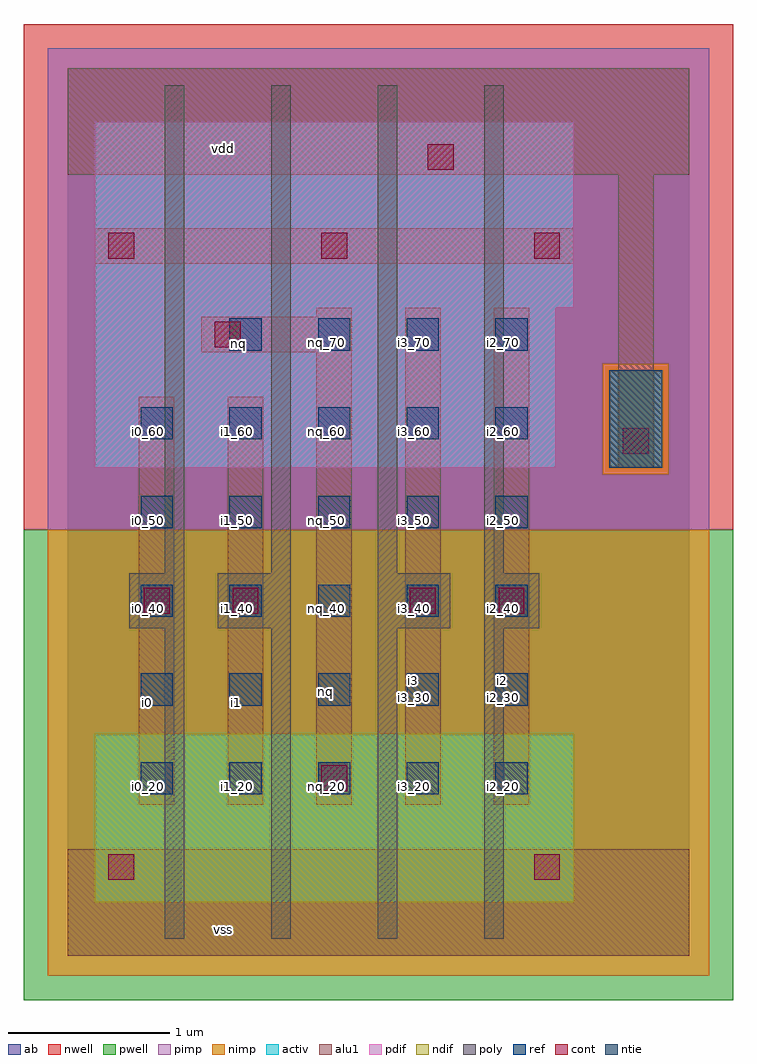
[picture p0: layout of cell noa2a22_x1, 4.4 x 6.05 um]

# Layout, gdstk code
import gdstk
lib = gdstk.Library(unit=1e-6, precision=2.5e-09)
def R(c, l, rs):  # rectangles x0, y0, x1, y1
    for r in rs: c.add(gdstk.rectangle(r[:2], r[2:], *l))
def A(c, l, x, y, w, h, nx, ny, dx, dy):  # array of equal rectangles
    R(c, l, [(x+i*dx, y+j*dy, x+i*dx+w, y+j*dy+h) for i in range(nx) for j in range(ny)])
ndif = (3, 0)
pdif = (4, 0)
ntie = (5, 0)
ref = (24, 0)
cont = (25, 0)
pwell = (41, 0)
nwell = (42, 0)
activ = (43, 0)
pimp = (44, 0)
nimp = (45, 0)
poly = (46, 0)
alu1 = (49, 0)
ab = (63, 0)

noa2a22_x1 = lib.new_cell('noa2a22_x1')
R(noa2a22_x1, ndif, [(0.165,0.33,3.135,1.375)])
R(noa2a22_x1, pdif, [(0.165,3.025,3.025,4.015), (0.165,4.015,3.135,5.17)])
R(noa2a22_x1, ntie, [(3.355,3.025,3.685,3.63)])
A(noa2a22_x1, ref, 0.45, 1, 0.2, 0.2, 5, 5, 0.55, 0.55)
A(noa2a22_x1, ref, 1, 3.75, 0.2, 0.2, 4, 1, 0.55, 0)
A(noa2a22_x1, cont, 0.25, 4.32, 0.16, 0.16, 3, 1, 1.32, 0)
R(noa2a22_x1, cont, [(0.25,0.47,0.41,0.63), (2.89,0.47,3.05,0.63), (1.57,1.02,1.73,1.18), (0.47,2.12,0.63,2.28), (1.02,2.12,1.18,2.28), (2.12,2.12,2.28,2.28), (2.67,2.12,2.83,2.28), (3.44,3.11,3.6,3.27), (0.91,3.77,1.07,3.93), (2.23,4.87,2.39,5.03)])
R(noa2a22_x1, pwell, [(-0.275,-0.275,4.125,2.64)])
R(noa2a22_x1, nwell, [(-0.275,2.64,4.125,5.775)])
R(noa2a22_x1, activ, [(0.165,0.33,3.135,1.375), (0.165,3.025,3.025,4.015), (3.355,3.025,3.685,3.63), (0.165,4.015,3.135,5.17)])
R(noa2a22_x1, pimp, [(-0.125,2.64,3.975,2.985), (-0.125,2.985,3.315,3.67), (3.725,2.985,3.975,3.67), (-0.125,3.67,3.975,5.625)])
R(noa2a22_x1, nimp, [(-0.125,-0.125,3.975,2.64), (3.315,2.985,3.725,3.67)])
A(noa2a22_x1, poly, 0.6, 0.105, 0.12, 1.925, 4, 1, 0.66, 0)
A(noa2a22_x1, poly, 0.6, 2.37, 0.12, 3.025, 4, 1, 0.66, 0)
R(noa2a22_x1, poly, [(0.38,2.03,0.72,2.37), (0.93,2.03,1.38,2.37), (1.92,2.03,2.37,2.37), (2.58,2.03,2.92,2.37)])
R(noa2a22_x1, alu1, [(0,0,3.85,0.66), (0.44,0.935,0.66,3.465), (0.99,0.935,1.21,3.465), (1.54,0.935,1.76,3.74), (2.09,0.935,2.31,4.015), (2.64,0.935,2.86,4.015), (3.41,3.025,3.63,4.84), (0.825,3.74,1.76,3.96), (1.54,3.96,1.76,4.015), (0.165,4.29,3.135,4.51), (0,4.84,3.85,5.5)])
R(noa2a22_x1, ab, [(0,0,3.85,5.5)])
noa2a22_x1.add(gdstk.Label('vss', (0.9625,0.165), layer=49, texttype=0))
noa2a22_x1.add(gdstk.Label('i2', (2.695,1.705), layer=49, texttype=0))
noa2a22_x1.add(gdstk.Label('i3', (2.145,1.705), layer=49, texttype=0))
noa2a22_x1.add(gdstk.Label('nq', (1.595,1.635), layer=49, texttype=0))
noa2a22_x1.add(gdstk.Label('i1', (1.045,1.5675), layer=49, texttype=0))
noa2a22_x1.add(gdstk.Label('i0', (0.495,1.5675), layer=49, texttype=0))
noa2a22_x1.add(gdstk.Label('nq', (1.0575,3.795), layer=49, texttype=0))
noa2a22_x1.add(gdstk.Label('vdd', (0.9625,5.005), layer=49, texttype=0))
noa2a22_x1.add(gdstk.Label('nq_70', (1.05,3.8), layer=24, texttype=0))
noa2a22_x1.add(gdstk.Label('nq_70', (1.6,3.8), layer=24, texttype=0))
noa2a22_x1.add(gdstk.Label('nq_60', (1.6,3.25), layer=24, texttype=0))
noa2a22_x1.add(gdstk.Label('nq_50', (1.6,2.7), layer=24, texttype=0))
noa2a22_x1.add(gdstk.Label('nq_40', (1.6,2.15), layer=24, texttype=0))
noa2a22_x1.add(gdstk.Label('nq_30', (1.6,1.6), layer=24, texttype=0))
noa2a22_x1.add(gdstk.Label('nq_20', (1.6,1.05), layer=24, texttype=0))
noa2a22_x1.add(gdstk.Label('i2_20', (2.7,1.05), layer=24, texttype=0))
noa2a22_x1.add(gdstk.Label('i2_30', (2.7,1.6), layer=24, texttype=0))
noa2a22_x1.add(gdstk.Label('i2_40', (2.7,2.15), layer=24, texttype=0))
noa2a22_x1.add(gdstk.Label('i2_50', (2.7,2.7), layer=24, texttype=0))
noa2a22_x1.add(gdstk.Label('i2_60', (2.7,3.25), layer=24, texttype=0))
noa2a22_x1.add(gdstk.Label('i2_70', (2.7,3.8), layer=24, texttype=0))
noa2a22_x1.add(gdstk.Label('i3_70', (2.15,3.8), layer=24, texttype=0))
noa2a22_x1.add(gdstk.Label('i3_60', (2.15,3.25), layer=24, texttype=0))
noa2a22_x1.add(gdstk.Label('i3_50', (2.15,2.7), layer=24, texttype=0))
noa2a22_x1.add(gdstk.Label('i3_40', (2.15,2.15), layer=24, texttype=0))
noa2a22_x1.add(gdstk.Label('i3_30', (2.15,1.6), layer=24, texttype=0))
noa2a22_x1.add(gdstk.Label('i3_20', (2.15,1.05), layer=24, texttype=0))
noa2a22_x1.add(gdstk.Label('i1_20', (1.05,1.05), layer=24, texttype=0))
noa2a22_x1.add(gdstk.Label('i1_30', (1.05,1.6), layer=24, texttype=0))
noa2a22_x1.add(gdstk.Label('i1_40', (1.05,2.15), layer=24, texttype=0))
noa2a22_x1.add(gdstk.Label('i1_50', (1.05,2.7), layer=24, texttype=0))
noa2a22_x1.add(gdstk.Label('i1_60', (1.05,3.25), layer=24, texttype=0))
noa2a22_x1.add(gdstk.Label('i0_60', (0.5,3.25), layer=24, texttype=0))
noa2a22_x1.add(gdstk.Label('i0_50', (0.5,2.7), layer=24, texttype=0))
noa2a22_x1.add(gdstk.Label('i0_40', (0.5,2.15), layer=24, texttype=0))
noa2a22_x1.add(gdstk.Label('i0_30', (0.5,1.6), layer=24, texttype=0))
noa2a22_x1.add(gdstk.Label('i0_20', (0.5,1.05), layer=24, texttype=0))

lib.write_gds('noa2a22_x1.gds')
